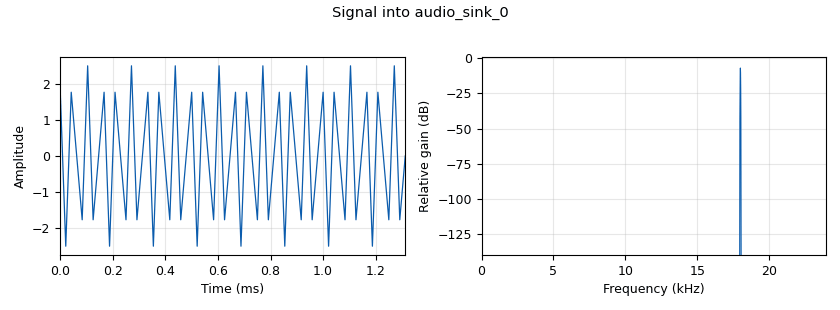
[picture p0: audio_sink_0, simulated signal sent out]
<?xml version='1.0' encoding='utf-8'?>
<?grc format='1' created='3.7.11'?>
<flow_graph>
<block>
<key>options</key>
<param><key>id</key><value>cosine_audio</value></param>
<param><key>generate_options</key><value>qt_gui</value></param>
</block>
<block>
<key>variable_qtgui_range</key>
<param><key>id</key><value>freq</value></param>
<param><key>value</key><value>500</value></param>
<param><key>orient</key><value>Qt.Horizontal</value></param>
<param><key>start</key><value>1</value></param>
<param><key>step</key><value>1</value></param>
<param><key>stop</key><value>1000</value></param>
</block>
<block>
<key>variable</key>
<param><key>id</key><value>samp_rate</value></param>
<param><key>value</key><value>8e3</value></param>
</block>
<block>
<key>analog_sig_source_x</key>
<param><key>id</key><value>analog_sig_source_x_0</value></param>
<param><key>amp</key><value>0.5</value></param>
<param><key>freq</key><value>freq</value></param>
<param><key>offset</key><value>0</value></param>
<param><key>type</key><value>float</value></param>
<param><key>samp_rate</key><value>samp_rate</value></param>
<param><key>waveform</key><value>analog.GR_COS_WAVE</value></param>
</block>
<block>
<key>audio_sink</key>
<param><key>id</key><value>audio_sink_0</value></param>
<param><key>samp_rate</key><value>48000</value></param>
</block>
<block>
<key>blocks_multiply_const_vxx</key>
<param><key>id</key><value>blocks_multiply_const_vxx_0</value></param>
<param><key>const</key><value>5</value></param>
<param><key>type</key><value>float</value></param>
</block>
<block>
<key>rational_resampler_xxx</key>
<param><key>id</key><value>rational_resampler_xxx_0</value></param>
<param><key>decim</key><value>48</value></param>
<param><key>interp</key><value>8</value></param>
<param><key>taps</key><value></value></param>
<param><key>type</key><value>fff</value></param>
</block>
<connection><source_block_id>analog_sig_source_x_0</source_block_id><sink_block_id>rational_resampler_xxx_0</sink_block_id><source_key>0</source_key><sink_key>0</sink_key></connection>
<connection><source_block_id>blocks_multiply_const_vxx_0</source_block_id><sink_block_id>audio_sink_0</sink_block_id><source_key>0</source_key><sink_key>0</sink_key></connection>
<connection><source_block_id>rational_resampler_xxx_0</source_block_id><sink_block_id>blocks_multiply_const_vxx_0</sink_block_id><source_key>0</source_key><sink_key>0</sink_key></connection>
</flow_graph>
